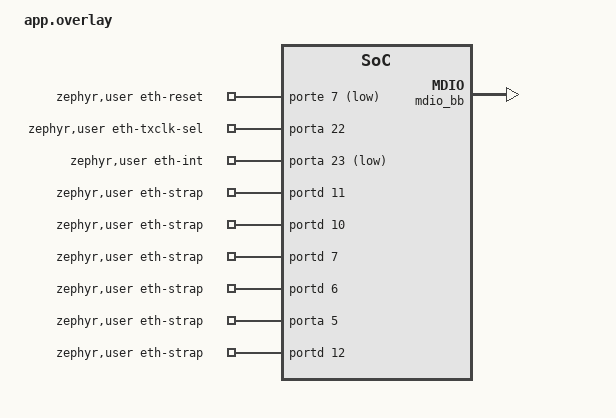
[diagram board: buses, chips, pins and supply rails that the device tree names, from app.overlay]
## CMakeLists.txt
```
# Copyright (c) 2026
# SPDX-License-Identifier: Apache-2.0

cmake_minimum_required(VERSION 3.20.0)

# Make the custom board (../boards/microchip/mega_can) discoverable so that
# `west build -b mega_can phyprobe` works without passing -DBOARD_ROOT.
list(APPEND BOARD_ROOT ${CMAKE_CURRENT_SOURCE_DIR}/..)

find_package(Zephyr REQUIRED HINTS $ENV{ZEPHYR_BASE})
project(mega_can_phyprobe)

target_sources(app PRIVATE src/main.c)
```

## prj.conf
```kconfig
CONFIG_GPIO=y

# UART console (SERCOM0) for the report.
CONFIG_PRINTK=y
CONFIG_BOOT_BANNER=y

# Bit-banged MDIO on the GMAC's MDC/MDIO pins (see app.overlay). No Ethernet
# MAC driver is involved: this talks to the PHY and nothing else.
CONFIG_MDIO=y
```

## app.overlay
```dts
/*
 * KSZ9031 PHY probe. Pins from GIGE.pdf (MCU sheet p.3, Ethernet sheet p.7).
 *
 * MDC/MDIO are driven as plain GPIOs (bit-banged) instead of through the
 * GMAC's own MDIO block. That keeps the MAC, its clocks and the unfinished
 * driver port out of the test: if the PHY answers here, the PHY, its power,
 * its 25 MHz oscillator and the MDIO wiring are good.
 *
 *   MDC   PA3   (would be PA3K_ETH_GMDC)
 *   MDIO  PA4   (would be PA4K_ETH_GMDIO), 4.7k pull-up R58 on the board
 *   RESET PE7   ball J2 -> R60 270R -> PHY RESET_N (10k pull-up R56 + 100nF C106)
 *   SEL   PA22  ball G4 -> U4 SEL (ETH_TX_CLK_EN), TX clock switch
 *   INT   PA23  ball G1 <- PHY INT_N (4.7k pull-up R62)
 *
 * PHY strap pins with NO pull resistor on the board (p.7). The KSZ9031 has no
 * internal pulls on them either, so the MCU sets them with its own weak pulls
 * while RESET_N is low (see phy_hw_reset() in main.c):
 *   MODE0     = RXD0   PD11 (B2)  -> 1 \
 *   MODE1     = RXD1   PD10 (A2)  -> 0  | MODE[3:0] = 0001 = GMII/MII
 *   MODE2     = RXD2   PD7  (F7)  -> 0  |
 *   MODE3     = RXD3   PD6  (A4)  -> 0 /
 *   CLK125_EN = RX_DV  PA5  (E2)  -> 0   125 MHz output off (only goes to TP1)
 *   PHYAD2    = RX_CLK PD12 (B1)  -> 0   (via R52 0R)
 * PHYAD1/0 = LED2/LED1 are pulled up only through the RJ45 LEDs + 330R
 * (no 10k like the datasheet's Fig 9-1), so they probably read 1, 1:
 * expected PHY address 0b011 = 3.
 */

/ {
	mdio_bb: mdio {
		compatible = "zephyr,mdio-gpio";
		#address-cells = <1>;
		#size-cells = <0>;
		mdc-gpios = <&porta 3 GPIO_ACTIVE_HIGH>;
		mdio-gpios = <&porta 4 GPIO_ACTIVE_HIGH>;
		status = "okay";
	};

	zephyr,user {
		eth-reset-gpios = <&porte 7 GPIO_ACTIVE_LOW>;
		eth-txclk-sel-gpios = <&porta 22 GPIO_ACTIVE_HIGH>;
		eth-int-gpios = <&porta 23 GPIO_ACTIVE_LOW>;
		/* MODE0, MODE1, MODE2, MODE3, CLK125_EN, PHYAD2 (order used in main.c) */
		eth-strap-gpios = <&portd 11 0>, <&portd 10 0>, <&portd 7 0>,
				  <&portd 6 0>, <&porta 5 0>, <&portd 12 0>;
	};
};

&portd {
	status = "okay";
};

&porte {
	status = "okay";
};
```

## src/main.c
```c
/*
 * Copyright (c) 2026
 * SPDX-License-Identifier: Apache-2.0
 *
 * mega_can KSZ9031 PHY probe. Answers "is the board's Ethernet section alive?"
 * without the GMAC driver: MDIO is bit-banged on GPIOs (see app.overlay).
 *
 * 1. Opens the TX clock switch (SEL low) so PD5 and the PHY's TX_CLK are apart.
 * 2. Resets the PHY (RESET_N low 20 ms, then 100 ms for it to come up),
 *    setting its unresistored strap pins (MODE = GMII/MII, PHYAD2, CLK125_EN)
 *    with MCU pulls during reset.
 * 3. Reads PHYID1/PHYID2 at all 32 MDIO addresses. A KSZ9031 answers
 *    0x0022 / 0x162x at its strapped address only (address 0 is NOT a
 *    broadcast address on this part, KSZ9031 datasheet section 3.11), so expect
 *    exactly one hit, at 3.
 * 4. Prints the PHY's status registers, then reports link changes once a
 *    second: speed, duplex, and how the firmware must set the TX clock path
 *    for that speed.
 *
 * The PHY negotiates on its own; no MAC is needed to get a link. Plug a cable
 * to the Jetson or a laptop to see 1000/100 show up.
 *
 * Register numbers: IEEE 802.3 clause 22 (0-10) and KSZ9031MNX datasheet
 * DS00002096E section 4 (1Fh PHY Control). Results go to the SERCOM0 UART
 * console at 115200; the LED toggles once a second.
 *
 * NOTE on running: the factory boot ROM halts at a BKPT when a debugger is
 * attached; reset with the probe's nRESET (or power-cycle) to run.
 */

#include <zephyr/kernel.h>
#include <zephyr/drivers/gpio.h>
#include <zephyr/drivers/mdio.h>
#include <zephyr/sys/printk.h>

/* Clause 22 registers */
#define REG_BMCR       0x00 /* basic control */
#define REG_BMSR       0x01 /* basic status */
#define REG_PHYID1     0x02
#define REG_PHYID2     0x03
#define REG_ANAR       0x04 /* our advertised abilities */
#define REG_ANLPAR     0x05 /* link partner's 10/100 abilities */
#define REG_GBCR       0x09 /* 1000BASE-T control (our 1000 advertisement) */
#define REG_GBSR       0x0A /* 1000BASE-T status (partner's 1000 abilities) */
/* KSZ9031 vendor registers */
#define REG_KSZ_PHYCTL 0x1F /* PHY Control: final speed/duplex */

#define BMSR_LINK      BIT(2)  /* latches low on link loss: read twice */
#define BMSR_AN_DONE   BIT(5)
#define GBSR_LP_1000FD BIT(11)
#define GBSR_LP_1000HD BIT(10)

#define KSZ_SPD_1000   BIT(6)
#define KSZ_SPD_100    BIT(5)
#define KSZ_SPD_10     BIT(4)
#define KSZ_FULL_DPLX  BIT(3)
#define KSZ_MASTER     BIT(2)

#define KSZ_PHYID1     0x0022
#define KSZ_PHYID2     0x1620 /* low 4 bits = silicon revision */

#define NO_PHY         0xFF

static const struct device *const mdio = DEVICE_DT_GET(DT_NODELABEL(mdio_bb));
static const struct gpio_dt_spec led = GPIO_DT_SPEC_GET(DT_ALIAS(led0), gpios);
static const struct gpio_dt_spec phy_reset =
	GPIO_DT_SPEC_GET(DT_PATH(zephyr_user), eth_reset_gpios);
static const struct gpio_dt_spec txclk_sel =
	GPIO_DT_SPEC_GET(DT_PATH(zephyr_user), eth_txclk_sel_gpios);
static const struct gpio_dt_spec phy_int =
	GPIO_DT_SPEC_GET(DT_PATH(zephyr_user), eth_int_gpios);

#define STRAP_NODE DT_PATH(zephyr_user)
#define STRAP_SPEC(node, prop, idx) GPIO_DT_SPEC_GET_BY_IDX(node, prop, idx),

/* Board has no strap resistors on these PHY pins; see app.overlay. */
static const struct gpio_dt_spec straps[] = {
	DT_FOREACH_PROP_ELEM(STRAP_NODE, eth_strap_gpios, STRAP_SPEC)
};
static const char *const strap_name[] = {
	"MODE0", "MODE1", "MODE2", "MODE3", "CLK125_EN", "PHYAD2",
};
/* MODE[3:0] = 0001 (GMII/MII), 125 MHz output off, PHYAD2 = 0 */
static const uint8_t strap_level[] = { 1, 0, 0, 0, 0, 0 };
#define EXPECTED_ADDR 3 /* PHYAD2 = 0 (ours) + PHYAD1/0 = 1/1 (LED pull-ups) */

BUILD_ASSERT(ARRAY_SIZE(straps) == ARRAY_SIZE(strap_level));

static uint16_t rd(uint8_t addr, uint8_t reg)
{
	uint16_t v = 0xFFFF;

	if (mdio_read(mdio, addr, reg, &v) != 0) {
		printk("  mdio_read(%u, 0x%02x) failed\n", addr, reg);
	}
	return v;
}

static int pins_init(void)
{
	if (!gpio_is_ready_dt(&led) || !gpio_is_ready_dt(&phy_reset) ||
	    !gpio_is_ready_dt(&txclk_sel) || !gpio_is_ready_dt(&phy_int) ||
	    !device_is_ready(mdio)) {
		printk("GPIO or MDIO device not ready\n");
		return -ENODEV;
	}
	for (size_t i = 0; i < ARRAY_SIZE(straps); i++) {
		if (!gpio_is_ready_dt(&straps[i])) {
			printk("strap GPIO %s not ready\n", strap_name[i]);
			return -ENODEV;
		}
	}

	gpio_pin_configure_dt(&led, GPIO_OUTPUT_INACTIVE);
	/*
	 * Switch open: the PHY's 25 MHz TX_CLK output stays off PD5. PD5 itself
	 * is left as an input (reset state), so nothing drives GTX_CLK either.
	 * This is the safe state; the real driver picks SEL per link speed.
	 */
	gpio_pin_configure_dt(&txclk_sel, GPIO_OUTPUT_INACTIVE);
	gpio_pin_configure_dt(&phy_int, GPIO_INPUT);
	/* Active-low in the devicetree: "active" = RESET_N pulled low. */
	gpio_pin_configure_dt(&phy_reset, GPIO_OUTPUT_ACTIVE);
	return 0;
}

static void phy_hw_reset(void)
{
	/*
	 * KSZ9031 needs reset held >= 10 ms after power is stable (Table 7-7,
	 * tSR); it samples its strap pins (MODE, PHYAD, CLK125_EN) on release.
	 * The board's RC on RESET_N already did a power-on reset, but with the
	 * strap pins floating (no resistors on the board), so the PHY may have
	 * latched a random mode. This reset is the one that counts.
	 *
	 * While RESET_N is low the strap pins are high-impedance inputs, so the
	 * MCU's weak internal pulls are enough to set their level. After release
	 * the PHY drives those pins as outputs; a pull just loses to it, so the
	 * MCU and PHY never fight (driving the pins as outputs instead would).
	 */
	gpio_pin_set_dt(&phy_reset, 1);
	printk("PHY straps while in reset:");
	for (size_t i = 0; i < ARRAY_SIZE(straps); i++) {
		gpio_pin_configure_dt(&straps[i], GPIO_INPUT |
				      (strap_level[i] ? GPIO_PULL_UP : GPIO_PULL_DOWN));
		printk(" %s=%u", strap_name[i], strap_level[i]);
	}
	printk("\n");
	k_msleep(20);

	/* Report what the pins actually read: a stuck pin shows up here. */
	for (size_t i = 0; i < ARRAY_SIZE(straps); i++) {
		int v = gpio_pin_get_dt(&straps[i]);

		if (v != strap_level[i]) {
			printk("  WARNING: %s reads %d, wanted %u (short or external load?)\n",
			       strap_name[i], v, strap_level[i]);
		}
	}

	gpio_pin_set_dt(&phy_reset, 0); /* straps latch on this edge */
	k_msleep(1);
	/* Pulls off; in the real firmware pinctrl hands these pins to the GMAC. */
	for (size_t i = 0; i < ARRAY_SIZE(straps); i++) {
		gpio_pin_configure_dt(&straps[i], GPIO_INPUT);
	}
	k_msleep(100);
}

/* Returns the MDIO address to use, or NO_PHY. */
static uint8_t scan(void)
{
	uint8_t found = NO_PHY;
	int all_ones = 0, all_zeros = 0;

	printk("\nMDIO scan (addresses 0-31):\n");
	for (uint8_t a = 0; a < 32; a++) {
		uint16_t id1 = rd(a, REG_PHYID1);
		uint16_t id2 = rd(a, REG_PHYID2);

		if (id1 == 0xFFFF && id2 == 0xFFFF) {
			all_ones++;
			continue;
		}
		if (id1 == 0x0000 && id2 == 0x0000) {
			all_zeros++;
			continue;
		}

		bool ksz = id1 == KSZ_PHYID1 && (id2 & 0xFFF0) == KSZ_PHYID2;

		printk("  addr %2u: PHYID1=0x%04x PHYID2=0x%04x %s\n", a, id1, id2,
		       ksz ? "<- KSZ9031" : "(unknown PHY)");
		if (ksz) {
			printk("           silicon rev %u\n", id2 & 0xF);
			if (found == NO_PHY) {
				found = a;
			} else {
				printk("           second KSZ9031 answer?! MDIO noise or "
				       "a wiring fault; using address %u\n", found);
			}
		}
	}

	if (found != NO_PHY) {
		printk("PASS: KSZ9031 answers at MDIO address %u\n", found);
		if (found == EXPECTED_ADDR) {
			printk("      = expected: PHYAD2 strap took, LED straps read 1/1\n");
		} else {
			printk("      expected %u: PHYAD2 bit %s, PHYAD1/0 (LED straps) = %u/%u\n"
			       "      -> set reg = <%u> on the PHY node in the board devicetree\n",
			       EXPECTED_ADDR, (found & 4) ? "did NOT take (floating?)" : "ok",
			       (found >> 1) & 1, found & 1, found);
		}
	} else if (all_ones == 32) {
		printk("FAIL: every read was 0xFFFF = nobody drove MDIO.\n"
		       "      Check: PHY power (VCC_ETH_P3V3 + core rails), 25 MHz osc on\n"
		       "      PHY XI (pin 61), RESET_N high (pin 56), MDC/MDIO continuity\n"
		       "      PA3/PA4 -> PHY.\n");
	} else if (all_zeros == 32) {
		printk("FAIL: every read was 0x0000 = MDIO stuck low.\n"
		       "      Check: MDIO short to GND, R58 pull-up, PHY held in reset.\n");
	} else {
		printk("FAIL: answers, but no KSZ9031 ID. Noisy MDIO or wrong part?\n");
	}
	return found;
}

static void dump(uint8_t a)
{
	uint16_t bmsr = rd(a, REG_BMSR);

	bmsr = rd(a, REG_BMSR); /* second read = current link state */

	printk("\nPHY registers (addr %u):\n", a);
	printk("  BMCR   0x%04x  basic control\n", rd(a, REG_BMCR));
	printk("  BMSR   0x%04x  link %s, autoneg %s\n", bmsr,
	       (bmsr & BMSR_LINK) ? "UP" : "down",
	       (bmsr & BMSR_AN_DONE) ? "done" : "not done");
	printk("  ANAR   0x%04x  we advertise (10/100)\n", rd(a, REG_ANAR));
	printk("  GBCR   0x%04x  we advertise (1000)\n", rd(a, REG_GBCR));
	printk("  1Fh    0x%04x  KSZ PHY control\n", rd(a, REG_KSZ_PHYCTL));
	printk("  INT_N  %s\n", gpio_pin_get_dt(&phy_int) ? "asserted" : "idle");
}

/*
 * What the real driver must do for each speed. The TX clock direction flips
 * between GMII and MII, and U4 routes it (see CLAUDE.md, Hardware).
 */
static void report_link(uint8_t a)
{
	uint16_t bmsr;
	uint16_t ctl;

	(void)rd(a, REG_BMSR);
	bmsr = rd(a, REG_BMSR);
	if (!(bmsr & BMSR_LINK)) {
		printk("link DOWN\n");
		return;
	}

	ctl = rd(a, REG_KSZ_PHYCTL);
	const char *dplx = (ctl & KSZ_FULL_DPLX) ? "full" : "half";

	if (ctl & KSZ_SPD_1000) {
		uint16_t gbsr = rd(a, REG_GBSR);

		printk("link UP: 1000BASE-T %s duplex, %s (partner 1000FD=%d)\n"
		       "  -> GMII: SEL (PA22) low, PD5 = GTXCK out (125 MHz, GCLK ch 54)\n",
		       dplx, (ctl & KSZ_MASTER) ? "master" : "slave",
		       !!(gbsr & GBSR_LP_1000FD));
	} else if (ctl & (KSZ_SPD_100 | KSZ_SPD_10)) {
		printk("link UP: %s %s duplex (partner ANLPAR=0x%04x)\n"
		       "  -> MII: PD5 = TXCK in, then SEL (PA22) high\n",
		       (ctl & KSZ_SPD_100) ? "100BASE-TX" : "10BASE-T", dplx,
		       rd(a, REG_ANLPAR));
	} else {
		printk("link UP but no speed bit set yet (1Fh=0x%04x)\n", ctl);
	}
}

int main(void)
{
	uint8_t addr;
	bool last_link = false;
	bool first = true;

	printk("\nmega_can KSZ9031 PHY probe\n");
	if (pins_init() != 0) {
		return 0;
	}

	phy_hw_reset();
	addr = scan();
	if (addr == NO_PHY) {
		/* Keep blinking slowly so a dead PHY isn't mistaken for a dead MCU. */
		while (1) {
			gpio_pin_toggle_dt(&led);
			k_msleep(1000);
		}
	}

	dump(addr);
	printk("\nWatching link (plug/unplug the cable):\n");

	while (1) {
		uint16_t bmsr;
		bool link;

		(void)rd(addr, REG_BMSR);
		bmsr = rd(addr, REG_BMSR);
		link = (bmsr & BMSR_LINK) != 0;
		if (first || link != last_link) {
			report_link(addr);
			last_link = link;
			first = false;
		}

		gpio_pin_toggle_dt(&led);
		k_msleep(1000);
	}
	return 0;
}
```
